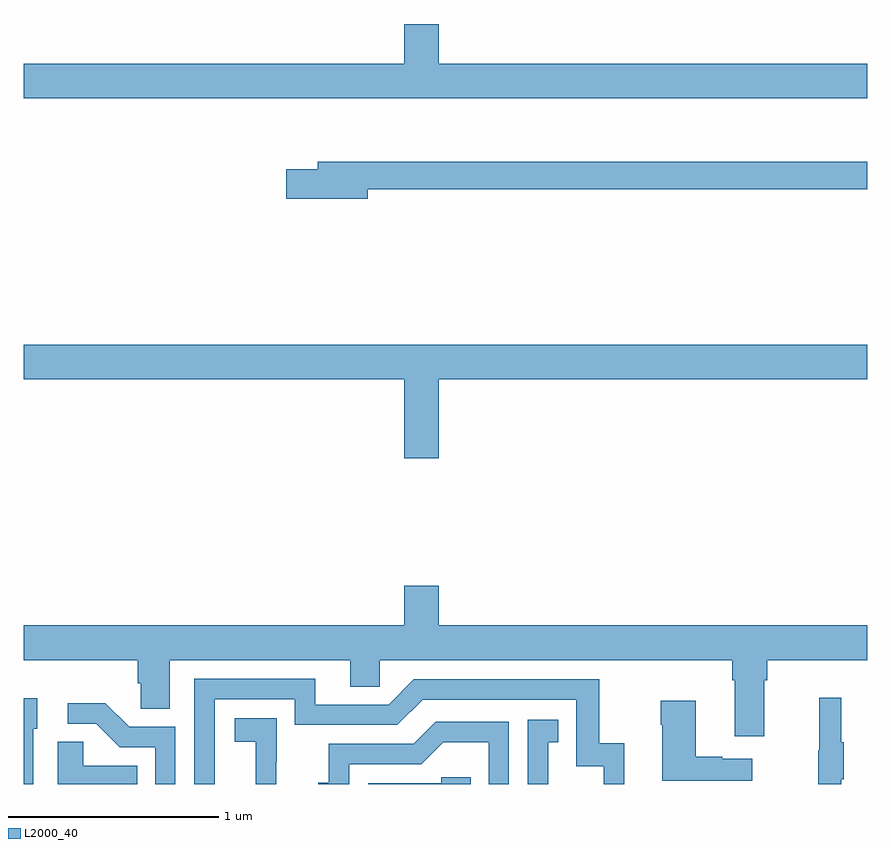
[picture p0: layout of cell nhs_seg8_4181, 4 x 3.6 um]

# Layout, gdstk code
import gdstk
lib = gdstk.Library(unit=1e-6, precision=1e-09)
def P(c, l, *ps):  # polygons
    for p in ps: c.add(gdstk.Polygon(p, *l))
L2000_40 = (2000, 40)

nhs_seg8_4181 = lib.new_cell('nhs_seg8_4181')
P(nhs_seg8_4181, L2000_40, [(371,1131.316),(368.968,1131.316),(368.968,1131.505),(368.804,1131.505),(368.804,1131.316),(367,1131.316),(367,1131.152),(371,1131.152)],
  [(368.632,1130.722),(371,1130.722),(371,1130.851),(368.393,1130.851),(368.393,1130.817),(368.244,1130.817),(368.244,1130.675),(368.632,1130.675)],
  [(368.968,1129.82),(371,1129.82),(371,1129.984),(367,1129.984),(367,1129.82),(368.804,1129.82),(368.804,1129.446),(368.968,1129.446)],
  [(370.513,1128.392),(370.526,1128.392),(370.526,1128.488),(371,1128.488),(371,1128.652),(368.968,1128.652),(368.968,1128.841),(368.804,1128.841),(368.804,1128.652),(367,1128.652),(367,1128.488),(367.541,1128.488),(367.541,1128.379),(367.554,1128.379),(367.554,1128.256),(367.693,1128.256),(367.693,1128.488),(368.549,1128.488),(368.549,1128.361),(368.688,1128.361),(368.688,1128.488),(370.361,1128.488),(370.361,1128.392),(370.373,1128.392),(370.373,1128.126),(370.513,1128.126)],
  [(367.905,1128.303),(368.286,1128.303),(368.286,1128.18),(368.772,1128.18),(368.892,1128.3),(369.621,1128.3),(369.621,1127.985),(369.75,1127.985),(369.75,1127.9),(369.848,1127.9),(369.848,1128.094),(369.73,1128.094),(369.73,1128.396),(368.85,1128.396),(368.73,1128.276),(368.383,1128.276),(368.383,1128.399),(367.809,1128.399),(367.809,1127.9),(367.905,1127.9)],
  [(370.877,1127.923),(370.888,1127.923),(370.888,1128.097),(370.877,1128.097),(370.877,1128.31),(370.774,1128.31),(370.774,1128.06),(370.767,1128.06),(370.767,1127.9),(370.877,1127.9)],
  [(367.044,1128.162),(367.063,1128.162),(367.063,1128.307),(367,1128.307),(367,1127.9),(367.044,1127.9)],
  [(370.456,1128.019),(370.313,1128.019),(370.313,1128.029),(370.186,1128.029),(370.186,1128.295),(370.021,1128.295),(370.021,1128.182),(370.028,1128.182),(370.028,1127.915),(370.456,1127.915)],
  [(367.719,1128.171),(367.5,1128.171),(367.387,1128.284),(367.209,1128.284),(367.209,1128.186),(367.343,1128.186),(367.454,1128.075),(367.623,1128.075),(367.623,1127.9),(367.719,1127.9)],
  [(368.198,1128.005),(368.199,1128.005),(368.199,1128.211),(368.001,1128.211),(368.001,1128.101),(368.099,1128.101),(368.099,1127.9),(368.198,1127.9)],
  [(369.487,1128.099),(369.536,1128.099),(369.536,1128.205),(369.39,1128.205),(369.39,1127.9),(369.487,1127.9)],
  [(368.544,1127.994),(368.886,1127.994),(368.99,1128.098),(369.204,1128.098),(369.204,1127.9),(369.3,1127.9),(369.3,1128.195),(368.954,1128.195),(368.849,1128.09),(368.446,1128.09),(368.446,1127.905),(368.397,1127.905),(368.397,1127.9),(368.544,1127.9)],
  [(367.538,1127.986),(367.281,1127.986),(367.281,1128.101),(367.16,1128.101),(367.16,1127.9),(367.538,1127.9)],
  [(369.119,1127.931),(368.979,1127.931),(368.979,1127.904),(368.634,1127.904),(368.634,1127.9),(369.119,1127.9)])

lib.write_gds('nhs_seg8_4181.gds')
